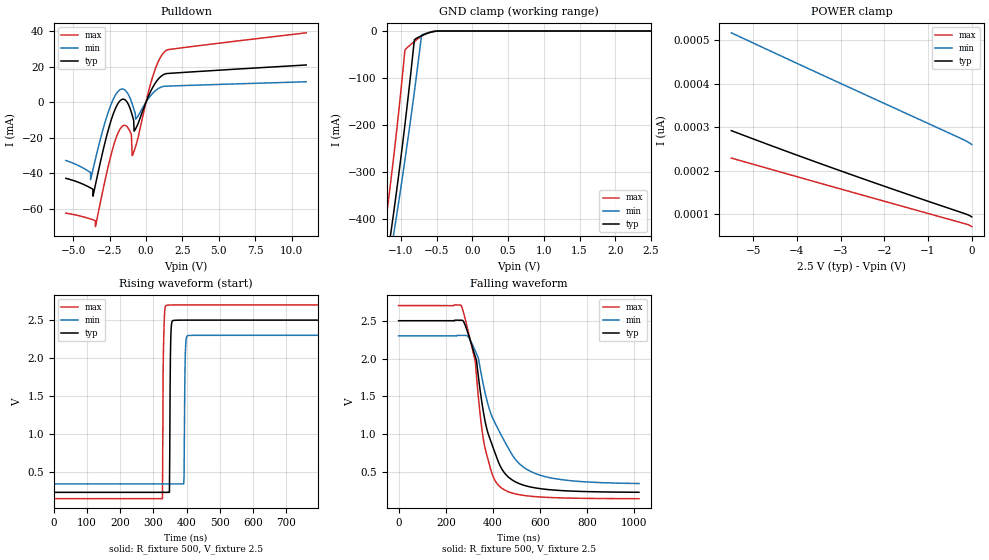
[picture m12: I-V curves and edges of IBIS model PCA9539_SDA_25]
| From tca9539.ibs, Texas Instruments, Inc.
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[Model]   PCA9539_SDA_25
Model_type  I/O_open_drain
Vinl=0.69
Vinh=1.89
Enable   Active-Low
Vref =   2.5V
Rref =   1k
Cref =   50p
Vmeas =   1.25
| variable   typ   min   max
C_comp   2.39pF   1.90pF   3.78pF
| C_pulldown   1.07pF   0.04pF   2.15pF
| C_tri-state   2.39pF   1.90pF   3.78pF
[Temperature Range]   40   100   -40
| Ambient temperature   25   85   -40
[Voltage range]   2.5   2.3   2.7
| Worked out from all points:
|   slope of the pulldown table from 0 to 0.375 V, typ, clamps not added: 53.7 ohm
|   GND clamp passes 1 mA (typ) near -0.54 V on its own axis
|   rising waveform, R_fixture 500, V_fixture 2.5: 20-80 % time 2.25ns typ, 2.56ns min, 2.77ns max; typ from 0.232 V to 2.5 V
|   falling waveform, R_fixture 500, V_fixture 2.5: 20-80 % time 93.8ns typ, 136ns min, 71.9ns max; typ from 2.5 V to 0.234 V
[GND Clamp]
| PCA9539_SDA_25
|   Voltage   I(typ)   I(min)   I(max)
-5.5V     -2.312A    -2.337A    -2.193A
-1.25V    -543.5mA   -570.3mA   -448.7mA
-1.215V   -508.3mA   -539.1mA   -408.9mA
-1.14V    -429.8mA   -470.1mA   -318.6mA
-1.105V   -391.6mA   -437mA     -273.9mA
-1.085V   -369.2mA   -417.7mA   -247.5mA
-1.02V    -294.1mA   -353.7mA   -157.3mA
-945mV    -201.7mA   -276.7mA   -43.16mA
-810mV    -18.61mA   -128.2mA   -22.4mA
-710mV    -10.04mA   -8.533mA   -10.85mA
-505mV    -303.2uA   -446.3uA   -42.12uA
2.5V      94.18pA    271.9pA    64.3pA
[POWER Clamp]
| PCA9539_SDA_25
|   Voltage   I(typ)   I(min)   I(max)
-5.5V     292.1pA    516.7pA    229.1pA
-3.295V   210.3pA    414.1pA    166.5pA
-1.79V    157.1pA    344.9pA    124.1pA
-240mV    104.3pA    273.7pA    80.67pA
-70mV     98.01pA    265pA      75.64pA
-95.1fV   94.18pA    260.2pA    71.75pA
[Pulldown]
| PCA9539_SDA_25
|   Voltage   I(typ)   I(min)   I(max)
-5.5V     -42.74mA   -32.74mA   -62.3mA
-3.8V     -48.13mA   -43.54mA   -65.6mA
-3.47V    -46.4mA    -31.98mA   -69.85mA
-1.905V   -515uA     6.183mA    -17.08mA
-1.205V   -1.262mA   4.251mA    -14.77mA
-1.005V   -5.602mA   467.1uA    -18.2mA
-935mV    -7.531mA   -1.172mA   -29.93mA
-800mV    -16.18mA   -4.65mA    -26.95mA
-700mV    -14.75mA   -9.44mA    -24.52mA
475mV     8.521mA    5.134mA    14.72mA
1.345V    15.98mA    9.024mA    28.85mA
11V       20.93mA    11.5mA     38.99mA
[Ramp]
| PCA9539_SDA_25
| variable   typ   min   max
dV/dt_r   1.36/2.16E-09   1.17/2.46E-09   1.54/2.62E-09
dV/dt_f   1.36/9.42E-08   1.17/1.36E-07   1.54/7.22E-08
R_load = 500
[Rising Waveform]
| PCA9539_SDA_25
R_fixture =   500
C_fixture =   0
L_fixture =   0
V_fixture =   2.5
V_fixture_min = 2.3
V_fixture_max = 2.7
|   Time   V(typ)   V(min)   V(max)
0s        231.7mV    342.8mV    148.5mV
327ns     231.7mV    342.8mV    148mV
330ns     231.7mV    342.8mV    2.107V
338ns     231.7mV    342.8mV    2.692V
348ns     233mV      342.8mV    2.698V
351ns     2.024V     342.8mV    2.699V
357ns     2.49V      342.8mV    2.699V
391ns     2.5V       343mV      2.7V
402ns     2.5V       2.293V     2.7V
1.019us   2.5V       2.3V       2.7V
[Falling Waveform]
| PCA9539_SDA_25
R_fixture =   500
C_fixture =   0
L_fixture =   0
V_fixture =   2.5
V_fixture_min = 2.3
V_fixture_max = 2.7
|   Time   V(typ)   V(min)   V(max)
0s        2.5V       2.3V       2.7V
266ns     2.506V     2.306V     2.698V
325ns     2.026V     2.102V     1.963V
347ns     1.551V     1.853V     1.226V
366ns     1.184V     1.558V     824.7mV
399ns     838.3mV    1.211V     454.7mV
434ns     561.4mV    995.9mV    296.2mV
504ns     358.5mV    636.8mV    206.9mV
590ns     286.8mV    470.3mV    174.2mV
1.019us   234.3mV    349.6mV    149.6mV
